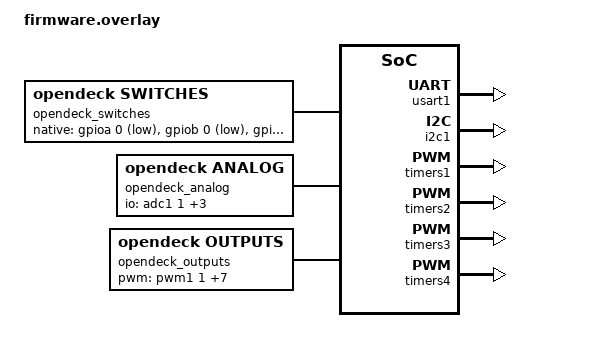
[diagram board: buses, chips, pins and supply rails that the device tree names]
/ {
    opendeck_metadata: opendeck-metadata {
        compatible = "opendeck,metadata";
        zephyr-board = "blackpill_f411ce/stm32f411xe";
    };

    opendeck_transports: opendeck-transports {
        compatible = "opendeck,transports";
        uart = <&opendeck_uart_din_midi>;
        usb;
    };

    opendeck_tests: opendeck-tests {
        compatible = "opendeck,tests";
        host;
    };

    opendeck_bulk_build: opendeck-bulk-build {
        compatible = "opendeck,bulk-build";
        app;
        lint;
    };

    opendeck_switches: opendeck-switches {
        compatible = "opendeck,switches";
        mode = "native";
        native-gpios =
            <&gpioa 0 (GPIO_PULL_UP | GPIO_ACTIVE_LOW)>,
            <&gpiob 0 (GPIO_PULL_UP | GPIO_ACTIVE_LOW)>,
            <&gpiob 15 (GPIO_PULL_UP | GPIO_ACTIVE_LOW)>,
            <&gpiob 14 (GPIO_PULL_UP | GPIO_ACTIVE_LOW)>,
            <&gpiob 13 (GPIO_PULL_UP | GPIO_ACTIVE_LOW)>,
            <&gpiob 12 (GPIO_PULL_UP | GPIO_ACTIVE_LOW)>,
            <&gpioc 14 (GPIO_PULL_UP | GPIO_ACTIVE_LOW)>,
            <&gpioc 15 (GPIO_PULL_UP | GPIO_ACTIVE_LOW)>;
    };

    opendeck_analog: opendeck-analog {
        compatible = "opendeck,analog";
        mode = "native";
        io-channels =
            <&adc1 1>,
            <&adc1 2>,
            <&adc1 3>,
            <&adc1 9>;
    };

    opendeck_outputs: opendeck-outputs {
        compatible = "opendeck,outputs";
        mode = "pwm";
        pwms =
            <&pwm1 1 PWM_MSEC(1) PWM_POLARITY_NORMAL>,
            <&pwm2 1 PWM_MSEC(1) PWM_POLARITY_NORMAL>,
            <&pwm2 2 PWM_MSEC(1) PWM_POLARITY_NORMAL>,
            <&pwm3 1 PWM_MSEC(1) PWM_POLARITY_NORMAL>,
            <&pwm3 2 PWM_MSEC(1) PWM_POLARITY_NORMAL>,
            <&pwm4 1 PWM_MSEC(1) PWM_POLARITY_NORMAL>,
            <&pwm4 2 PWM_MSEC(1) PWM_POLARITY_NORMAL>,
            <&pwm2 3 PWM_MSEC(1) PWM_POLARITY_NORMAL>;
    };

    opendeck_touchscreen: opendeck-touchscreen {
        compatible = "opendeck,touchscreen";
        component-count = <64>;
        uart = <&opendeck_uart_touchscreen>;
    };

    opendeck_i2c: opendeck-i2c {
        compatible = "opendeck,i2c";
        bus = <&opendeck_i2c_bus>;
    };
};

&usart1 {
    status = "okay";
};

&i2c1 {
    status = "okay";
};

&timers1 {
    status = "okay";
    st,prescaler = <3>;

    pwm1: pwm {
        status = "okay";
        pinctrl-0 = <&tim1_ch1_pa8>;
        pinctrl-names = "default";
    };
};

&timers2 {
    status = "okay";
    st,prescaler = <3>;

    pwm2: pwm {
        status = "okay";
        pinctrl-0 = <&tim2_ch1_pa15 &tim2_ch2_pb3 &tim2_ch3_pb10>;
        pinctrl-names = "default";
    };
};

&timers3 {
    status = "okay";
    st,prescaler = <3>;

    pwm3: pwm {
        status = "okay";
        pinctrl-0 = <&tim3_ch1_pb4 &tim3_ch2_pb5>;
        pinctrl-names = "default";
    };
};

&timers4 {
    status = "okay";
    st,prescaler = <3>;

    pwm4: pwm {
        status = "okay";
        pinctrl-0 = <&tim4_ch1_pb6 &tim4_ch2_pb7>;
        pinctrl-names = "default";
    };
};
